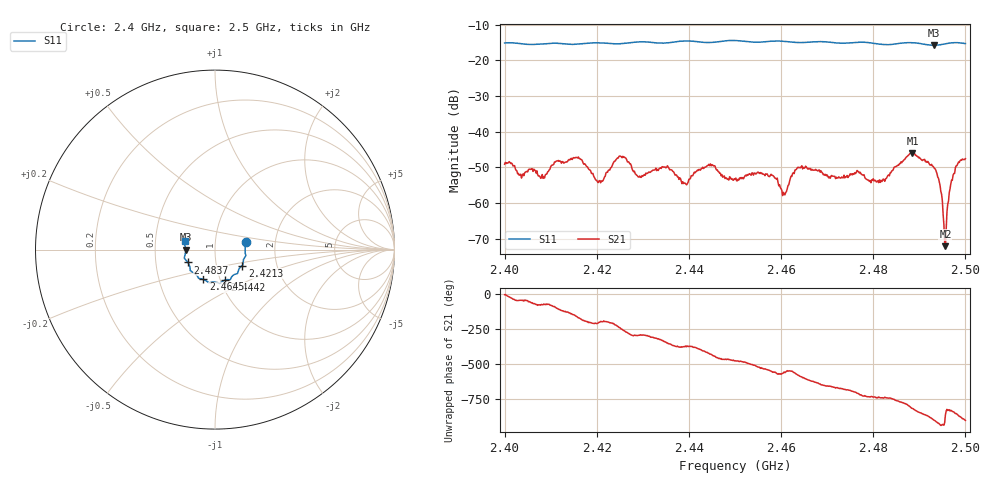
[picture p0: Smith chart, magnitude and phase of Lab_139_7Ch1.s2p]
# Hz S RI R 50
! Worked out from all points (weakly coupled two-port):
!   601 points, 2.4 GHz to 2.5 GHz, reference 50 ohm
!   highest |S21| = -46.06 dB at 2.4885 GHz (marker M1); lowest = -72.1 dB at 2.4957 GHz (marker M2)
!   lowest |S11| = -15.7 dB at 2.4932 GHz (marker M3), VSWR 1.39, Z = 35.9 - j0.0516 ohm
!   |S11| at or under -10 dB: start of sweep to end of sweep
!   S12 and S22 are empty: the file has one direction only
!   S11 on the Smith chart (normalised r, x): 2.4 GHz: 1.41, +0.12; 2.4213 GHz: 1.33, -0.25; 2.4442 GHz: 1.05, -0.37; 2.4645 GHz: 0.83, -0.29; 2.4837 GHz: 0.73, -0.11; 2.5 GHz: 0.71, +0.07
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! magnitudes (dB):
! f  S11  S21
! 2.4 GHz  -15.1  -49.1
! 2.4082 GHz  -15.4  -52.0
! 2.4167 GHz  -15.3  -47.8
! 2.4213 GHz  -15.1  -53.8
! 2.4252 GHz  -15.3  -46.9
! 2.4292 GHz  -14.8  -52.7
! 2.4333 GHz  -15.1  -50.9
! 2.4393 GHz  -14.5  -54.7
! 2.4442 GHz  -15.0  -49.4
! 2.45 GHz  -14.4  -53.4
! 2.458 GHz  -14.6  -52.2
! 2.4607 GHz  -14.6  -57.3
! 2.4645 GHz  -15.0  -49.6
! 2.4667 GHz  -14.8  -50.6
! 2.4833 GHz  -15.6  -52.1
! 2.4837 GHz  -15.5  -51.6
! 2.4885 GHz  -15.0  -46.1
! 2.4932 GHz  -15.7  -50.1
! 2.4943 GHz  -15.6  -54.1
! 2.4957 GHz  -15.3  -72.1
! 2.4975 GHz  -15.0  -51.7
! 2.5 GHz  -15.2  -47.6
